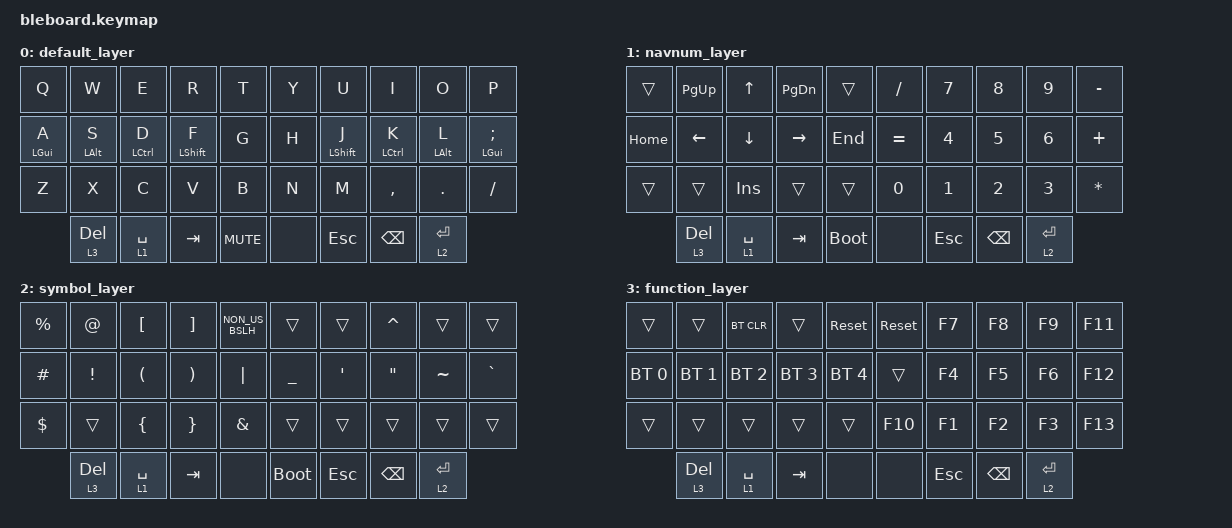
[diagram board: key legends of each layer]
/ {
    keymap {
        compatible = "zmk,keymap";

        default_layer {
            bindings = <
    &kp Q       &kp W       &kp E       &kp R       &kp T               &kp Y   &kp U       &kp I       &kp O       &kp P
    &mt LGUI A  &mt LALT S  &mt LCTRL D &mt LSHFT F &kp G               &kp H   &mt LSHFT J &mt LCTRL K &mt LALT L  &mt LGUI SEMI
    &kp Z       &kp X       &kp C       &kp V       &kp B               &kp N   &kp M       &kp COMMA   &kp DOT     &kp FSLH
                &lt 3 DEL   &lt 1 SPACE &kp TAB     &kp C_MUTE          &none  &kp ESC     &kp BSPC    &lt 2 RET
            >;
        };

        navnum_layer {
            bindings = <
    &trans      &kp PG_UP   &kp UP      &kp PG_DN   &trans                       &kp FSLH    &kp N7  &kp N8      &kp N9      &kp MINUS
    &kp HOME    &kp LEFT    &kp DOWN    &kp RIGHT   &kp END                      &kp EQUAL   &kp N4  &kp N5      &kp N6      &kp PLUS
    &trans      &trans      &kp INS     &trans      &trans                       &kp N0      &kp N1  &kp N2      &kp N3      &kp ASTERISK
                &lt 3 DEL   &lt 1 SPACE &kp TAB     &bootloader                  &none       &kp ESC &kp BSPC    &lt 2 RET
            >;
        };

        symbol_layer {
            bindings = <
    &kp PRCNT       &kp AT      &kp LBKT    &kp RBKT    &kp NON_US_BSLH         &trans          &trans          &kp CARET           &trans      &trans
    &kp HASH        &kp EXCL    &kp LPAR    &kp RPAR    &kp PIPE                &kp UNDER       &kp APOS        &kp DOUBLE_QUOTES   &kp TILDE   &kp GRAVE
    &kp DLLR        &trans      &kp LBRC    &kp RBRC    &kp AMPS                &trans          &trans          &trans              &trans      &trans
                    &lt 3 DEL   &lt 1 SPACE &kp TAB     &none                   &bootloader     &kp ESC         &kp BSPC            &lt 2 RET
            >;
        };

        function_layer {
            bindings = <
    &trans          &trans          &bt BT_CLR      &trans          &sys_reset          &sys_reset  &kp F7  &kp F8      &kp F9      &kp F11
    &bt BT_SEL 0    &bt BT_SEL 1    &bt BT_SEL 2    &bt BT_SEL 3    &bt BT_SEL 4        &trans      &kp F4  &kp F5      &kp F6      &kp F12
    &trans          &trans          &trans          &trans          &trans              &kp F10     &kp F1  &kp F2      &kp F3      &kp F13
                    &lt 3 DEL       &lt 1 SPACE     &kp TAB         &none               &none       &kp ESC &kp BSPC    &lt 2 RET
            >;
        };
    };
};
